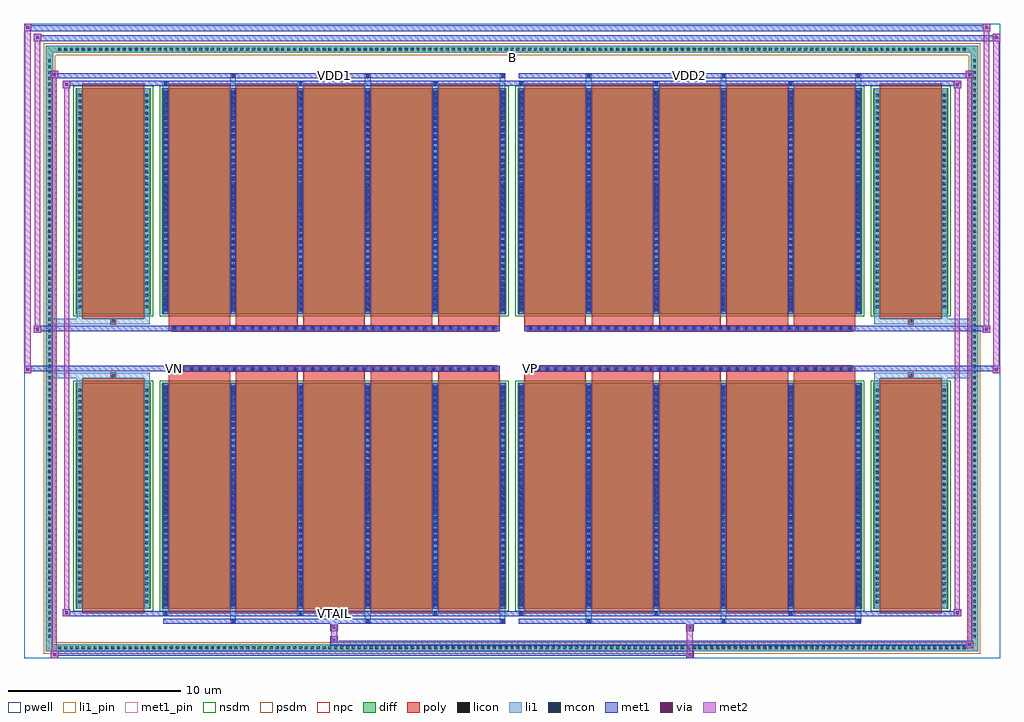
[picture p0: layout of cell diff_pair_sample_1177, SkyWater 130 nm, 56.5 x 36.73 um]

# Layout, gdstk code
import gdstk
lib = gdstk.Library(unit=1e-6, precision=5e-09)
def R(c, l, rs):  # rectangles x0, y0, x1, y1
    for r in rs: c.add(gdstk.rectangle(r[:2], r[2:], *l))
def A(c, l, x, y, w, h, nx, ny, dx, dy):  # array of equal rectangles
    R(c, l, [(x+i*dx, y+j*dy, x+i*dx+w, y+j*dy+h) for i in range(nx) for j in range(ny)])
def P(c, l, *ps):  # polygons
    for p in ps: c.add(gdstk.Polygon(p, *l))
pwell = (64, 44)
diff = (65, 20)
poly = (66, 20)
licon = (66, 44)
li1_pin = (67, 16)
li1 = (67, 20)
mcon = (67, 44)
met1_pin = (68, 16)
met1 = (68, 20)
via = (68, 44)
met2 = (69, 20)
nsdm = (93, 44)
psdm = (94, 20)
npc = (95, 20)

diff_pair_sample_1177 = lib.new_cell('diff_pair_sample_1177')
R(diff_pair_sample_1177, pwell, [(-28.25,-17.93,28.25,18.8), (-25.57,-16.12,-0.01,-0.8), (0.01,-16.12,25.57,-0.8), (-25.57,0.8,-0.01,16.12), (0.01,0.8,25.57,16.12)])
A(diff_pair_sample_1177, diff, -26.385, -17.53, 0.41, 0.41, 155, 2, 0.34, 34.65)
A(diff_pair_sample_1177, diff, -26.98, -16.865, 0.41, 0.41, 1, 99, 0, 0.34)
A(diff_pair_sample_1177, diff, 26.57, -16.865, 0.41, 0.41, 1, 99, 0, 0.34)
R(diff_pair_sample_1177, diff, [(-26.385,-17.53,26.385,-17.12), (-26.98,-16.865,-26.57,16.865), (26.57,-16.865,26.98,16.865), (-25.26,-15.075,-20.91,-1.985), (-20.27,-15.075,-0.32,-1.985), (0.32,-15.075,20.27,-1.985), (20.91,-15.075,25.26,-1.985), (-25.26,1.985,-20.91,15.075), (-20.27,1.985,-0.32,15.075), (0.32,1.985,20.27,15.075), (20.91,1.985,25.26,15.075), (-26.385,17.12,26.385,17.53)])
P(diff_pair_sample_1177, diff, [(26.98,17.53),(-26.98,17.53),(-26.98,-17.12),(-26.57,-17.12),(-26.57,17.12),(26.57,17.12),(26.57,-17.12),(-26.57,-17.12),(-26.98,-17.12),(-26.98,-17.53),(26.98,-17.53)])
A(diff_pair_sample_1177, poly, -19.88, -15.325, 3.57, 13.59, 5, 2, 3.9, 17.06)
A(diff_pair_sample_1177, poly, 0.71, -15.325, 3.57, 13.59, 5, 2, 3.9, 17.06)
A(diff_pair_sample_1177, poly, -19.88, -1.735, 3.57, 0.405, 5, 2, 3.9, 3.065)
A(diff_pair_sample_1177, poly, 0.71, -1.735, 3.57, 0.405, 5, 2, 3.9, 3.065)
A(diff_pair_sample_1177, poly, -19.71, -1.33, 0.33, 0.33, 38, 2, 0.5, 2.33)
A(diff_pair_sample_1177, poly, 0.88, -1.33, 0.33, 0.33, 38, 2, 0.5, 2.33)
R(diff_pair_sample_1177, poly, [(-24.87,-15.325,-21.3,-1.735), (21.3,-15.325,24.87,-1.735), (-23.25,-1.735,-22.92,-1.405), (-23.25,-1.735,-22.92,-1.405), (22.92,-1.735,23.25,-1.405), (22.92,-1.735,23.25,-1.405), (-19.88,-1.33,-0.71,-1), (0.71,-1.33,19.88,-1), (-19.88,1,-0.71,1.33), (0.71,1,19.88,1.33), (-23.25,1.405,-22.92,1.735), (-23.25,1.405,-22.92,1.735), (22.92,1.405,23.25,1.735), (22.92,1.405,23.25,1.735), (-24.87,1.735,-21.3,15.325), (21.3,1.735,24.87,15.325)])
A(diff_pair_sample_1177, licon, -26.265, -17.41, 0.17, 0.17, 155, 2, 0.34, 34.65)
A(diff_pair_sample_1177, licon, -26.86, -16.745, 0.17, 0.17, 1, 99, 0, 0.34)
A(diff_pair_sample_1177, licon, 26.69, -16.745, 0.17, 0.17, 1, 99, 0, 0.34)
A(diff_pair_sample_1177, licon, -25.12, -14.735, 0.17, 0.17, 1, 37, 0, 0.34)
A(diff_pair_sample_1177, licon, -21.22, -14.735, 0.17, 0.17, 1, 37, 0, 0.34)
A(diff_pair_sample_1177, licon, -20.13, -14.735, 0.17, 0.17, 6, 37, 3.9, 0.34)
A(diff_pair_sample_1177, licon, 0.46, -14.735, 0.17, 0.17, 6, 37, 3.9, 0.34)
A(diff_pair_sample_1177, licon, 21.05, -14.735, 0.17, 0.17, 1, 37, 0, 0.34)
A(diff_pair_sample_1177, licon, 24.95, -14.735, 0.17, 0.17, 1, 37, 0, 0.34)
A(diff_pair_sample_1177, licon, -19.63, -1.25, 0.17, 0.17, 38, 2, 0.5, 2.33)
A(diff_pair_sample_1177, licon, 0.96, -1.25, 0.17, 0.17, 38, 2, 0.5, 2.33)
A(diff_pair_sample_1177, licon, -25.12, 2.325, 0.17, 0.17, 1, 37, 0, 0.34)
A(diff_pair_sample_1177, licon, -21.22, 2.325, 0.17, 0.17, 1, 37, 0, 0.34)
A(diff_pair_sample_1177, licon, -20.13, 2.325, 0.17, 0.17, 6, 37, 3.9, 0.34)
A(diff_pair_sample_1177, licon, 0.46, 2.325, 0.17, 0.17, 6, 37, 3.9, 0.34)
A(diff_pair_sample_1177, licon, 21.05, 2.325, 0.17, 0.17, 1, 37, 0, 0.34)
A(diff_pair_sample_1177, licon, 24.95, 2.325, 0.17, 0.17, 1, 37, 0, 0.34)
R(diff_pair_sample_1177, licon, [(-23.17,-1.655,-23,-1.485), (23,-1.655,23.17,-1.485), (-23.17,1.485,-23,1.655), (23,1.485,23.17,1.655)])
R(diff_pair_sample_1177, li1_pin, [(-0.25,16.62,0.25,17.12)])
A(diff_pair_sample_1177, li1, -26.345, -17.49, 0.33, 0.33, 155, 2, 0.34, 34.65)
A(diff_pair_sample_1177, li1, -26.94, -16.825, 0.33, 0.33, 1, 99, 0, 0.34)
A(diff_pair_sample_1177, li1, 26.61, -16.825, 0.33, 0.33, 1, 99, 0, 0.34)
A(diff_pair_sample_1177, li1, -16.31, -15.88, 0.33, 0.805, 3, 2, 7.8, 30.955)
A(diff_pair_sample_1177, li1, -16.23, -15.88, 0.17, 0.17, 3, 2, 7.8, 31.59)
A(diff_pair_sample_1177, li1, 4.28, -15.88, 0.33, 0.805, 3, 2, 7.8, 30.955)
A(diff_pair_sample_1177, li1, 4.36, -15.88, 0.17, 0.17, 3, 2, 7.8, 31.59)
A(diff_pair_sample_1177, li1, -20.21, -15.45, 0.33, 0.375, 3, 2, 7.8, 30.525)
A(diff_pair_sample_1177, li1, -20.13, -15.45, 0.17, 0.17, 3, 2, 7.8, 30.73)
A(diff_pair_sample_1177, li1, 0.38, -15.45, 0.33, 0.375, 3, 2, 7.8, 30.525)
A(diff_pair_sample_1177, li1, 0.46, -15.45, 0.17, 0.17, 3, 2, 7.8, 30.73)
A(diff_pair_sample_1177, li1, -20.21, -15.075, 0.33, 13.09, 6, 2, 3.9, 17.06)
A(diff_pair_sample_1177, li1, 0.38, -15.075, 0.33, 13.09, 6, 2, 3.9, 17.06)
A(diff_pair_sample_1177, li1, -20.13, -14.915, 0.17, 0.17, 6, 36, 3.9, 0.36)
A(diff_pair_sample_1177, li1, -20.13, -14.915, 0.17, 12.77, 6, 2, 3.9, 17.06)
A(diff_pair_sample_1177, li1, 0.46, -14.915, 0.17, 0.17, 6, 36, 3.9, 0.36)
A(diff_pair_sample_1177, li1, 0.46, -14.915, 0.17, 12.77, 6, 2, 3.9, 17.06)
A(diff_pair_sample_1177, li1, -25.2, -14.815, 0.33, 0.33, 1, 37, 0, 0.34)
A(diff_pair_sample_1177, li1, -21.3, -14.815, 0.33, 0.33, 1, 37, 0, 0.34)
A(diff_pair_sample_1177, li1, -20.21, -14.815, 0.33, 0.33, 6, 37, 3.9, 0.34)
A(diff_pair_sample_1177, li1, 0.38, -14.815, 0.33, 0.33, 6, 37, 3.9, 0.34)
A(diff_pair_sample_1177, li1, 20.97, -14.815, 0.33, 0.33, 1, 37, 0, 0.34)
A(diff_pair_sample_1177, li1, 24.87, -14.815, 0.33, 0.33, 1, 37, 0, 0.34)
A(diff_pair_sample_1177, li1, -19.71, -1.33, 0.33, 0.33, 38, 2, 0.5, 2.33)
A(diff_pair_sample_1177, li1, 0.88, -1.33, 0.33, 0.33, 38, 2, 0.5, 2.33)
A(diff_pair_sample_1177, li1, -20.13, 2.145, 0.17, 0.17, 6, 36, 3.9, 0.36)
A(diff_pair_sample_1177, li1, 0.46, 2.145, 0.17, 0.17, 6, 36, 3.9, 0.36)
A(diff_pair_sample_1177, li1, -25.2, 2.245, 0.33, 0.33, 1, 37, 0, 0.34)
A(diff_pair_sample_1177, li1, -21.3, 2.245, 0.33, 0.33, 1, 37, 0, 0.34)
A(diff_pair_sample_1177, li1, -20.21, 2.245, 0.33, 0.33, 6, 37, 3.9, 0.34)
A(diff_pair_sample_1177, li1, 0.38, 2.245, 0.33, 0.33, 6, 37, 3.9, 0.34)
A(diff_pair_sample_1177, li1, 20.97, 2.245, 0.33, 0.33, 1, 37, 0, 0.34)
A(diff_pair_sample_1177, li1, 24.87, 2.245, 0.33, 0.33, 1, 37, 0, 0.34)
R(diff_pair_sample_1177, li1, [(-26.98,-17.53,-26.57,-17.12), (-26.98,-17.53,-26.57,-17.12), (-26.57,-17.53,26.57,-17.12), (26.57,-17.53,26.98,-17.12), (26.57,-17.53,26.98,-17.12), (-26.98,-17.12,-26.57,17.12), (26.57,-17.12,26.98,17.12), (-25.2,-15.075,-24.87,-1.985), (-21.3,-15.075,-20.97,-1.985), (20.97,-15.075,21.3,-1.985), (24.87,-15.075,25.2,-1.985), (-25.2,-1.985,-24.87,-1.405), (-21.3,-1.985,-20.97,-1.405), (20.97,-1.985,21.3,-1.405), (24.87,-1.985,25.2,-1.405), (-26.98,-1.735,-23.25,-1.405), (-25.2,-1.735,-23.25,-1.405), (-23.25,-1.735,-22.92,-1.405), (-22.92,-1.735,-20.97,-1.405), (20.97,-1.735,22.92,-1.405), (22.92,-1.735,23.25,-1.405), (22.92,-1.735,26.98,-1.405), (23.25,-1.735,25.2,-1.405), (-26.98,1.405,-23.25,1.735), (-25.2,1.405,-23.25,1.735), (-25.2,1.405,-24.87,1.985), (-23.25,1.405,-22.92,1.735), (-22.92,1.405,-20.97,1.735), (-21.3,1.405,-20.97,1.985), (20.97,1.405,22.92,1.735), (20.97,1.405,21.3,1.985), (22.92,1.405,23.25,1.735), (22.92,1.405,26.98,1.735), (23.25,1.405,25.2,1.735), (24.87,1.405,25.2,1.985), (-25.2,1.985,-24.87,15.075), (-21.3,1.985,-20.97,15.075), (20.97,1.985,21.3,15.075), (24.87,1.985,25.2,15.075), (-26.98,17.12,-26.57,17.53), (-26.98,17.12,-26.57,17.53), (-26.57,17.12,26.57,17.53), (26.57,17.12,26.98,17.53), (26.57,17.12,26.98,17.53)])
A(diff_pair_sample_1177, mcon, -16.23, -15.88, 0.17, 0.17, 3, 2, 7.8, 31.59)
A(diff_pair_sample_1177, mcon, 4.36, -15.88, 0.17, 0.17, 3, 2, 7.8, 31.59)
A(diff_pair_sample_1177, mcon, -20.13, -15.45, 0.17, 0.17, 3, 2, 7.8, 30.73)
A(diff_pair_sample_1177, mcon, 0.46, -15.45, 0.17, 0.17, 3, 2, 7.8, 30.73)
A(diff_pair_sample_1177, mcon, -20.13, -14.915, 0.17, 0.17, 6, 36, 3.9, 0.36)
A(diff_pair_sample_1177, mcon, 0.46, -14.915, 0.17, 0.17, 6, 36, 3.9, 0.36)
A(diff_pair_sample_1177, mcon, -19.63, -1.25, 0.17, 0.17, 38, 2, 0.5, 2.33)
A(diff_pair_sample_1177, mcon, 0.96, -1.25, 0.17, 0.17, 38, 2, 0.5, 2.33)
A(diff_pair_sample_1177, mcon, -20.13, 2.145, 0.17, 0.17, 6, 36, 3.9, 0.36)
A(diff_pair_sample_1177, mcon, 0.46, 2.145, 0.17, 0.17, 6, 36, 3.9, 0.36)
R(diff_pair_sample_1177, met1_pin, [(-10.43,-15.49,-10.16,-15.22), (-19.68,-1.29,-19.41,-1.02), (0.91,-1.29,1.18,-1.02), (-10.43,15.67,-10.16,15.94), (10.16,15.67,10.43,15.94)])
A(diff_pair_sample_1177, met1, -16.29, -15.94, 0.29, 0.29, 3, 2, 7.8, 31.59)
A(diff_pair_sample_1177, met1, 4.3, -15.94, 0.29, 0.29, 3, 2, 7.8, 31.59)
A(diff_pair_sample_1177, met1, -20.19, -15.51, 0.29, 0.29, 3, 2, 7.8, 30.73)
A(diff_pair_sample_1177, met1, 0.4, -15.51, 0.29, 0.29, 3, 2, 7.8, 30.73)
A(diff_pair_sample_1177, met1, -20.19, -15.075, 0.29, 13.09, 6, 2, 3.9, 17.06)
A(diff_pair_sample_1177, met1, 0.4, -15.075, 0.29, 13.09, 6, 2, 3.9, 17.06)
A(diff_pair_sample_1177, met1, -20.19, -14.975, 0.29, 0.29, 6, 36, 3.9, 0.36)
A(diff_pair_sample_1177, met1, 0.4, -14.975, 0.29, 0.29, 6, 36, 3.9, 0.36)
A(diff_pair_sample_1177, met1, -19.69, -1.31, 0.29, 0.29, 38, 2, 0.5, 2.33)
A(diff_pair_sample_1177, met1, 0.9, -1.31, 0.29, 0.29, 38, 2, 0.5, 2.33)
A(diff_pair_sample_1177, met1, -20.19, 2.085, 0.29, 0.29, 6, 36, 3.9, 0.36)
A(diff_pair_sample_1177, met1, 0.4, 2.085, 0.29, 0.29, 6, 36, 3.9, 0.36)
R(diff_pair_sample_1177, met1, [(-26.71,-17.93,-26.28,-17.5), (10.08,-17.93,10.51,-17.5), (-26.71,-17.79,10.51,-17.5), (26.28,-17.36,26.71,-16.93), (-10.51,-17.22,26.71,-16.93), (-10.51,-17.08,-10.08,-16.65), (-10.51,-16.37,-10.08,-15.94), (10.08,-16.37,10.51,-15.94), (-20.19,-15.94,-0.4,-15.65), (0.4,-15.94,20.19,-15.65), (-26,-15.51,-25.57,-15.08), (-26,-15.51,-20.19,-15.22), (-20.19,-15.51,-0.4,-15.22), (-0.4,-15.51,0.4,-15.22), (0.4,-15.51,20.19,-15.22), (20.19,-15.51,26,-15.22), (25.57,-15.51,26,-15.08), (-28.25,-1.43,-27.82,-1), (27.82,-1.43,28.25,-1), (-28.25,-1.33,-0.71,-1), (-19.88,-1.33,-0.71,-1), (0.71,-1.33,19.88,-1), (0.71,-1.33,28.25,-1), (-27.68,0.9,-27.25,1.33), (27.25,0.9,27.68,1.33), (-27.68,1,-19.88,1.33), (-19.88,1,-0.71,1.33), (0.71,1,19.88,1.33), (19.88,1,27.68,1.33), (-26,15.08,-25.57,15.51), (25.57,15.08,26,15.51), (-26,15.22,-20.19,15.51), (-20.19,15.22,-0.4,15.51), (-0.4,15.22,0.4,15.51), (0.4,15.22,20.19,15.51), (20.19,15.22,26,15.51), (-26.71,15.65,-26.28,16.08), (-26.71,15.65,-20.19,15.94), (-20.19,15.65,-0.4,15.94), (0.4,15.65,20.19,15.94), (20.19,15.65,26.71,15.94), (26.28,15.65,26.71,16.08), (-27.68,17.8,-27.25,18.23), (-27.68,17.8,-25.57,18.13), (-25.57,17.8,25.57,18.13), (25.57,17.8,28.25,18.13), (27.82,17.8,28.25,18.23), (-28.25,18.37,-27.82,18.8), (-28.25,18.37,-25.57,18.7), (-25.57,18.37,25.57,18.7), (25.57,18.37,27.68,18.7), (27.25,18.37,27.68,18.8)])
R(diff_pair_sample_1177, via, [(-26.57,-17.79,-26.42,-17.64), (10.22,-17.79,10.37,-17.64), (26.42,-17.22,26.57,-17.07), (-10.37,-16.94,-10.22,-16.79), (-10.37,-16.23,-10.22,-16.08), (10.22,-16.23,10.37,-16.08), (-25.86,-15.37,-25.71,-15.22), (25.71,-15.37,25.86,-15.22), (-28.11,-1.29,-27.96,-1.14), (27.96,-1.29,28.11,-1.14), (-27.54,1.04,-27.39,1.19), (27.39,1.04,27.54,1.19), (-25.86,15.22,-25.71,15.37), (25.71,15.22,25.86,15.37), (-26.57,15.79,-26.42,15.94), (26.42,15.79,26.57,15.94), (-27.54,17.94,-27.39,18.09), (27.96,17.94,28.11,18.09), (-28.11,18.51,-27.96,18.66), (27.39,18.51,27.54,18.66)])
R(diff_pair_sample_1177, met2, [(-26.71,-17.93,-26.28,-17.5), (-26.64,-17.93,-26.35,16.08), (-26.35,-17.93,-26.28,-17.5), (-26.66,-17.88,-26.33,-17.55), (10.13,-17.88,10.46,-17.55), (10.13,-17.55,10.46,-16.32), (26.28,-17.36,26.71,-16.93), (26.35,-17.36,26.64,16.08), (26.64,-17.36,26.71,-16.93), (26.33,-17.31,26.66,-16.98), (-10.46,-17.03,-10.13,-16.7), (-10.46,-16.7,-10.13,-16.32), (-10.46,-16.32,-10.13,-15.99), (10.13,-16.32,10.46,-15.99), (-26,-15.51,-25.57,-15.08), (-25.93,-15.51,-25.64,15.51), (-25.64,-15.51,-25.57,-15.08), (25.57,-15.51,26,-15.08), (25.64,-15.51,25.93,15.51), (25.93,-15.51,26,-15.08), (-25.95,-15.46,-25.62,-15.13), (25.62,-15.46,25.95,-15.13), (-28.25,-1.43,-27.82,-1), (-28.2,-1.43,-27.87,18.8), (-27.87,-1.43,-27.82,-1), (27.82,-1.43,28.25,-1), (27.87,-1.43,28.2,18.23), (28.2,-1.43,28.25,-1), (-28.2,-1.38,-27.87,-1.05), (27.87,-1.38,28.2,-1.05), (-27.68,0.9,-27.25,1.33), (-27.63,0.9,-27.3,18.23), (-27.3,0.9,-27.25,1.33), (27.25,0.9,27.68,1.33), (27.3,0.9,27.63,18.8), (27.63,0.9,27.68,1.33), (-27.63,0.95,-27.3,1.28), (27.3,0.95,27.63,1.28), (-26,15.08,-25.57,15.51), (-25.64,15.08,-25.57,15.51), (25.57,15.08,26,15.51), (25.93,15.08,26,15.51), (-25.95,15.13,-25.62,15.46), (25.62,15.13,25.95,15.46), (-26.71,15.65,-26.28,16.08), (-26.35,15.65,-26.28,16.08), (26.28,15.65,26.71,16.08), (26.64,15.65,26.71,16.08), (-26.66,15.7,-26.33,16.03), (26.33,15.7,26.66,16.03), (-27.68,17.8,-27.25,18.23), (-27.3,17.8,-27.25,18.23), (27.82,17.8,28.25,18.23), (28.2,17.8,28.25,18.23), (-27.63,17.85,-27.3,18.18), (27.87,17.85,28.2,18.18), (-28.25,18.37,-27.82,18.8), (-27.87,18.37,-27.82,18.8), (27.25,18.37,27.68,18.8), (27.63,18.37,27.68,18.8), (-28.2,18.42,-27.87,18.75), (27.3,18.42,27.63,18.75)])
R(diff_pair_sample_1177, nsdm, [(-25.39,-15.205,-20.78,-1.855), (-20.4,-15.205,-0.19,-1.855), (0.19,-15.205,20.4,-1.855), (20.78,-15.205,25.39,-1.855), (-25.39,1.855,-20.78,15.205), (-20.4,1.855,-0.19,15.205), (0.19,1.855,20.4,15.205), (20.78,1.855,25.39,15.205)])
P(diff_pair_sample_1177, psdm, [(27.11,17.66),(-27.11,17.66),(-27.11,-16.99),(-26.44,-16.99),(-26.44,16.99),(26.44,16.99),(26.44,-16.99),(-26.44,-16.99),(-27.11,-16.99),(-27.11,-17.66),(27.11,-17.66)])
A(diff_pair_sample_1177, npc, -19.73, -1.35, 0.37, 0.37, 38, 2, 0.5, 2.33)
A(diff_pair_sample_1177, npc, 0.86, -1.35, 0.37, 0.37, 38, 2, 0.5, 2.33)
R(diff_pair_sample_1177, npc, [(-23.27,-1.755,-22.9,-1.385), (22.9,-1.755,23.27,-1.385), (-19.73,-1.35,-18.86,-0.98), (-19.73,-1.35,-18.86,-0.98), (-19.23,-1.35,-18.36,-0.98), (-19.23,-1.35,-18.36,-0.98), (-18.73,-1.35,-17.86,-0.98), (-18.73,-1.35,-17.86,-0.98), (-18.23,-1.35,-17.36,-0.98), (-18.23,-1.35,-17.36,-0.98), (-17.73,-1.35,-16.86,-0.98), (-17.73,-1.35,-16.86,-0.98), (-17.23,-1.35,-16.36,-0.98), (-17.23,-1.35,-16.36,-0.98), (-16.73,-1.35,-15.86,-0.98), (-16.73,-1.35,-15.86,-0.98), (-16.23,-1.35,-15.36,-0.98), (-16.23,-1.35,-15.36,-0.98), (-15.73,-1.35,-14.86,-0.98), (-15.73,-1.35,-14.86,-0.98), (-15.23,-1.35,-14.36,-0.98), (-15.23,-1.35,-14.36,-0.98), (-14.73,-1.35,-13.86,-0.98), (-14.73,-1.35,-13.86,-0.98), (-14.23,-1.35,-13.36,-0.98), (-14.23,-1.35,-13.36,-0.98), (-13.73,-1.35,-12.86,-0.98), (-13.73,-1.35,-12.86,-0.98), (-13.23,-1.35,-12.36,-0.98), (-13.23,-1.35,-12.36,-0.98), (-12.73,-1.35,-11.86,-0.98), (-12.73,-1.35,-11.86,-0.98), (-12.23,-1.35,-11.36,-0.98), (-12.23,-1.35,-11.36,-0.98), (-11.73,-1.35,-10.86,-0.98), (-11.73,-1.35,-10.86,-0.98), (-11.23,-1.35,-10.36,-0.98), (-11.23,-1.35,-10.36,-0.98), (-10.73,-1.35,-9.86,-0.98), (-10.73,-1.35,-9.86,-0.98), (-10.23,-1.35,-9.36,-0.98), (-10.23,-1.35,-9.36,-0.98), (-9.73,-1.35,-8.86,-0.98), (-9.73,-1.35,-8.86,-0.98), (-9.23,-1.35,-8.36,-0.98), (-9.23,-1.35,-8.36,-0.98), (-8.73,-1.35,-7.86,-0.98), (-8.73,-1.35,-7.86,-0.98), (-8.23,-1.35,-7.36,-0.98), (-8.23,-1.35,-7.36,-0.98), (-7.73,-1.35,-6.86,-0.98), (-7.73,-1.35,-6.86,-0.98), (-7.23,-1.35,-6.36,-0.98), (-7.23,-1.35,-6.36,-0.98), (-6.73,-1.35,-5.86,-0.98), (-6.73,-1.35,-5.86,-0.98), (-6.23,-1.35,-5.36,-0.98), (-6.23,-1.35,-5.36,-0.98), (-5.73,-1.35,-4.86,-0.98), (-5.73,-1.35,-4.86,-0.98), (-5.23,-1.35,-4.36,-0.98), (-5.23,-1.35,-4.36,-0.98), (-4.73,-1.35,-3.86,-0.98), (-4.73,-1.35,-3.86,-0.98), (-4.23,-1.35,-3.36,-0.98), (-4.23,-1.35,-3.36,-0.98), (-3.73,-1.35,-2.86,-0.98), (-3.73,-1.35,-2.86,-0.98), (-3.23,-1.35,-2.36,-0.98), (-3.23,-1.35,-2.36,-0.98), (-2.73,-1.35,-1.86,-0.98), (-2.73,-1.35,-1.86,-0.98), (-2.23,-1.35,-1.36,-0.98), (-2.23,-1.35,-1.36,-0.98), (-1.73,-1.35,-0.86,-0.98), (-1.73,-1.35,-0.86,-0.98), (0.86,-1.35,1.73,-0.98), (0.86,-1.35,1.73,-0.98), (1.36,-1.35,2.23,-0.98), (1.36,-1.35,2.23,-0.98), (1.86,-1.35,2.73,-0.98), (1.86,-1.35,2.73,-0.98), (2.36,-1.35,3.23,-0.98), (2.36,-1.35,3.23,-0.98), (2.86,-1.35,3.73,-0.98), (2.86,-1.35,3.73,-0.98), (3.36,-1.35,4.23,-0.98), (3.36,-1.35,4.23,-0.98), (3.86,-1.35,4.73,-0.98), (3.86,-1.35,4.73,-0.98), (4.36,-1.35,5.23,-0.98), (4.36,-1.35,5.23,-0.98), (4.86,-1.35,5.73,-0.98), (4.86,-1.35,5.73,-0.98), (5.36,-1.35,6.23,-0.98), (5.36,-1.35,6.23,-0.98), (5.86,-1.35,6.73,-0.98), (5.86,-1.35,6.73,-0.98), (6.36,-1.35,7.23,-0.98), (6.36,-1.35,7.23,-0.98), (6.86,-1.35,7.73,-0.98), (6.86,-1.35,7.73,-0.98), (7.36,-1.35,8.23,-0.98), (7.36,-1.35,8.23,-0.98), (7.86,-1.35,8.73,-0.98), (7.86,-1.35,8.73,-0.98), (8.36,-1.35,9.23,-0.98), (8.36,-1.35,9.23,-0.98), (8.86,-1.35,9.73,-0.98), (8.86,-1.35,9.73,-0.98), (9.36,-1.35,10.23,-0.98), (9.36,-1.35,10.23,-0.98), (9.86,-1.35,10.73,-0.98), (9.86,-1.35,10.73,-0.98), (10.36,-1.35,11.23,-0.98), (10.36,-1.35,11.23,-0.98), (10.86,-1.35,11.73,-0.98), (10.86,-1.35,11.73,-0.98), (11.36,-1.35,12.23,-0.98), (11.36,-1.35,12.23,-0.98), (11.86,-1.35,12.73,-0.98), (11.86,-1.35,12.73,-0.98), (12.36,-1.35,13.23,-0.98), (12.36,-1.35,13.23,-0.98), (12.86,-1.35,13.73,-0.98), (12.86,-1.35,13.73,-0.98), (13.36,-1.35,14.23,-0.98), (13.36,-1.35,14.23,-0.98), (13.86,-1.35,14.73,-0.98), (13.86,-1.35,14.73,-0.98), (14.36,-1.35,15.23,-0.98), (14.36,-1.35,15.23,-0.98), (14.86,-1.35,15.73,-0.98), (14.86,-1.35,15.73,-0.98), (15.36,-1.35,16.23,-0.98), (15.36,-1.35,16.23,-0.98), (15.86,-1.35,16.73,-0.98), (15.86,-1.35,16.73,-0.98), (16.36,-1.35,17.23,-0.98), (16.36,-1.35,17.23,-0.98), (16.86,-1.35,17.73,-0.98), (16.86,-1.35,17.73,-0.98), (17.36,-1.35,18.23,-0.98), (17.36,-1.35,18.23,-0.98), (17.86,-1.35,18.73,-0.98), (17.86,-1.35,18.73,-0.98), (18.36,-1.35,19.23,-0.98), (18.36,-1.35,19.23,-0.98), (18.86,-1.35,19.73,-0.98), (18.86,-1.35,19.73,-0.98), (-19.73,0.98,-18.86,1.35), (-19.73,0.98,-18.86,1.35), (-19.23,0.98,-18.36,1.35), (-19.23,0.98,-18.36,1.35), (-18.73,0.98,-17.86,1.35), (-18.73,0.98,-17.86,1.35), (-18.23,0.98,-17.36,1.35), (-18.23,0.98,-17.36,1.35), (-17.73,0.98,-16.86,1.35), (-17.73,0.98,-16.86,1.35), (-17.23,0.98,-16.36,1.35), (-17.23,0.98,-16.36,1.35), (-16.73,0.98,-15.86,1.35), (-16.73,0.98,-15.86,1.35), (-16.23,0.98,-15.36,1.35), (-16.23,0.98,-15.36,1.35), (-15.73,0.98,-14.86,1.35), (-15.73,0.98,-14.86,1.35), (-15.23,0.98,-14.36,1.35), (-15.23,0.98,-14.36,1.35), (-14.73,0.98,-13.86,1.35), (-14.73,0.98,-13.86,1.35), (-14.23,0.98,-13.36,1.35), (-14.23,0.98,-13.36,1.35), (-13.73,0.98,-12.86,1.35), (-13.73,0.98,-12.86,1.35), (-13.23,0.98,-12.36,1.35), (-13.23,0.98,-12.36,1.35), (-12.73,0.98,-11.86,1.35), (-12.73,0.98,-11.86,1.35), (-12.23,0.98,-11.36,1.35), (-12.23,0.98,-11.36,1.35), (-11.73,0.98,-10.86,1.35), (-11.73,0.98,-10.86,1.35), (-11.23,0.98,-10.36,1.35), (-11.23,0.98,-10.36,1.35), (-10.73,0.98,-9.86,1.35), (-10.73,0.98,-9.86,1.35), (-10.23,0.98,-9.36,1.35), (-10.23,0.98,-9.36,1.35), (-9.73,0.98,-8.86,1.35), (-9.73,0.98,-8.86,1.35), (-9.23,0.98,-8.36,1.35), (-9.23,0.98,-8.36,1.35), (-8.73,0.98,-7.86,1.35), (-8.73,0.98,-7.86,1.35), (-8.23,0.98,-7.36,1.35), (-8.23,0.98,-7.36,1.35), (-7.73,0.98,-6.86,1.35), (-7.73,0.98,-6.86,1.35), (-7.23,0.98,-6.36,1.35), (-7.23,0.98,-6.36,1.35), (-6.73,0.98,-5.86,1.35), (-6.73,0.98,-5.86,1.35), (-6.23,0.98,-5.36,1.35), (-6.23,0.98,-5.36,1.35), (-5.73,0.98,-4.86,1.35), (-5.73,0.98,-4.86,1.35), (-5.23,0.98,-4.36,1.35), (-5.23,0.98,-4.36,1.35), (-4.73,0.98,-3.86,1.35), (-4.73,0.98,-3.86,1.35), (-4.23,0.98,-3.36,1.35), (-4.23,0.98,-3.36,1.35), (-3.73,0.98,-2.86,1.35), (-3.73,0.98,-2.86,1.35), (-3.23,0.98,-2.36,1.35), (-3.23,0.98,-2.36,1.35), (-2.73,0.98,-1.86,1.35), (-2.73,0.98,-1.86,1.35), (-2.23,0.98,-1.36,1.35), (-2.23,0.98,-1.36,1.35), (-1.73,0.98,-0.86,1.35), (-1.73,0.98,-0.86,1.35), (0.86,0.98,1.73,1.35), (0.86,0.98,1.73,1.35), (1.36,0.98,2.23,1.35), (1.36,0.98,2.23,1.35), (1.86,0.98,2.73,1.35), (1.86,0.98,2.73,1.35), (2.36,0.98,3.23,1.35), (2.36,0.98,3.23,1.35), (2.86,0.98,3.73,1.35), (2.86,0.98,3.73,1.35), (3.36,0.98,4.23,1.35), (3.36,0.98,4.23,1.35), (3.86,0.98,4.73,1.35), (3.86,0.98,4.73,1.35), (4.36,0.98,5.23,1.35), (4.36,0.98,5.23,1.35), (4.86,0.98,5.73,1.35), (4.86,0.98,5.73,1.35), (5.36,0.98,6.23,1.35), (5.36,0.98,6.23,1.35), (5.86,0.98,6.73,1.35), (5.86,0.98,6.73,1.35), (6.36,0.98,7.23,1.35), (6.36,0.98,7.23,1.35), (6.86,0.98,7.73,1.35), (6.86,0.98,7.73,1.35), (7.36,0.98,8.23,1.35), (7.36,0.98,8.23,1.35), (7.86,0.98,8.73,1.35), (7.86,0.98,8.73,1.35), (8.36,0.98,9.23,1.35), (8.36,0.98,9.23,1.35), (8.86,0.98,9.73,1.35), (8.86,0.98,9.73,1.35), (9.36,0.98,10.23,1.35), (9.36,0.98,10.23,1.35), (9.86,0.98,10.73,1.35), (9.86,0.98,10.73,1.35), (10.36,0.98,11.23,1.35), (10.36,0.98,11.23,1.35), (10.86,0.98,11.73,1.35), (10.86,0.98,11.73,1.35), (11.36,0.98,12.23,1.35), (11.36,0.98,12.23,1.35), (11.86,0.98,12.73,1.35), (11.86,0.98,12.73,1.35), (12.36,0.98,13.23,1.35), (12.36,0.98,13.23,1.35), (12.86,0.98,13.73,1.35), (12.86,0.98,13.73,1.35), (13.36,0.98,14.23,1.35), (13.36,0.98,14.23,1.35), (13.86,0.98,14.73,1.35), (13.86,0.98,14.73,1.35), (14.36,0.98,15.23,1.35), (14.36,0.98,15.23,1.35), (14.86,0.98,15.73,1.35), (14.86,0.98,15.73,1.35), (15.36,0.98,16.23,1.35), (15.36,0.98,16.23,1.35), (15.86,0.98,16.73,1.35), (15.86,0.98,16.73,1.35), (16.36,0.98,17.23,1.35), (16.36,0.98,17.23,1.35), (16.86,0.98,17.73,1.35), (16.86,0.98,17.73,1.35), (17.36,0.98,18.23,1.35), (17.36,0.98,18.23,1.35), (17.86,0.98,18.73,1.35), (17.86,0.98,18.73,1.35), (18.36,0.98,19.23,1.35), (18.36,0.98,19.23,1.35), (18.86,0.98,19.73,1.35), (18.86,0.98,19.73,1.35), (-23.27,1.385,-22.9,1.755), (22.9,1.385,23.27,1.755)])
diff_pair_sample_1177.add(gdstk.Label('VTAIL', (-10.295,-15.355), layer=68, texttype=5))
diff_pair_sample_1177.add(gdstk.Label('VN', (-19.545,-1.155), layer=68, texttype=5))
diff_pair_sample_1177.add(gdstk.Label('VP', (1.045,-1.155), layer=68, texttype=5))
diff_pair_sample_1177.add(gdstk.Label('B', (0,16.87), layer=67, texttype=5))
diff_pair_sample_1177.add(gdstk.Label('VDD2', (10.295,15.805), layer=68, texttype=5))
diff_pair_sample_1177.add(gdstk.Label('VDD1', (-10.295,15.805), layer=68, texttype=5))

lib.write_gds('diff_pair_sample_1177.gds')
